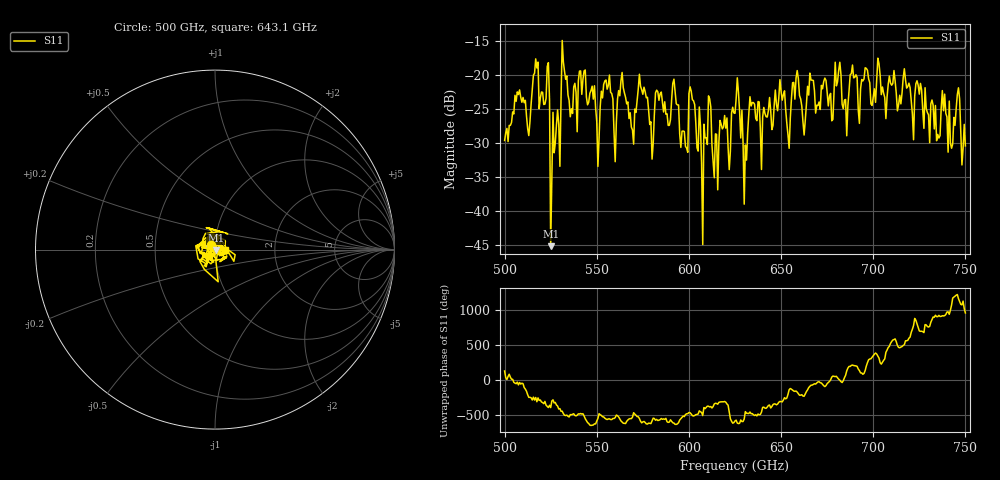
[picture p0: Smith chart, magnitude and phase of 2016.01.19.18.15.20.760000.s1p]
!Created with skrf (http://scikit-rf.org).
# GHz S RI R 50.0
!freq ReS11 ImS11
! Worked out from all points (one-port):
!   401 points, 500 GHz to 750 GHz, reference 50 ohm
!   lowest |S11| = -45.1 dB at 525 GHz (marker M1), VSWR 1.01, Z = 50.5 - j0.298 ohm
!   |S11| at or under -10 dB: start of sweep to end of sweep
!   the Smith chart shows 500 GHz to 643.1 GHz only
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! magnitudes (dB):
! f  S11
! 500 GHz  -29.6
! 506.9 GHz  -22.4
! 513.1 GHz  -28.9
! 516.9 GHz  -17.6
! 523.1 GHz  -18.7
! 525 GHz  -45.1
! 526.2 GHz  -25.5
! 531.2 GHz  -14.9
! 542.5 GHz  -20.6
! 550.6 GHz  -33.4
! 562.5 GHz  -23.0
! 568.8 GHz  -27.6
! 573.8 GHz  -21.6
! 580 GHz  -32.3
! 583.1 GHz  -22.4
! 593.8 GHz  -24.4
! 598.1 GHz  -30.4
! 601.9 GHz  -23.6
! 608.1 GHz  -27.2
! 610.6 GHz  -23.0
! 614.4 GHz  -28.6
! 625 GHz  -25.6
! 630.6 GHz  -30.3
! 634.4 GHz  -24.0
! 656.2 GHz  -21.1
! 687.5 GHz  -19.9
! 718.8 GHz  -21.7
! 750 GHz  -30.4
